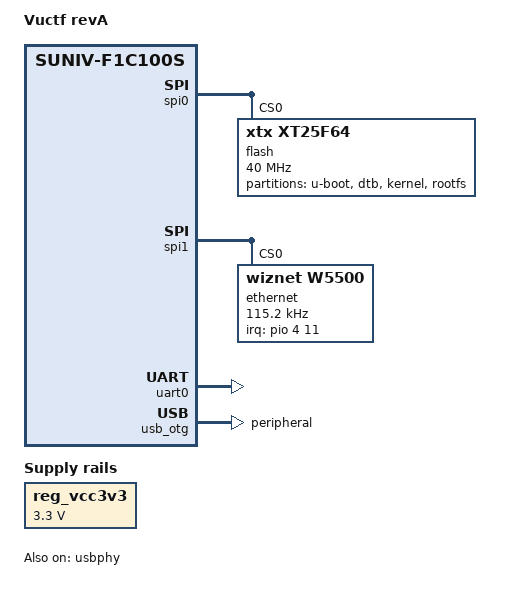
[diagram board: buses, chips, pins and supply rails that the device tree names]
// SPDX-License-Identifier: (GPL-2.0+ OR MIT)
/*
 * Copyright 2022 Arm Ltd,
 * based on work:
 *   Copyright 2022 Icenowy Zheng <uwu@icenowy.me>
 */

/dts-v1/;
#include "suniv-f1c100s.dtsi"

#include <dt-bindings/gpio/gpio.h>
#include <dt-bindings/interrupt-controller/irq.h>


/ {
	model = "Vuctf revA";
	compatible = "lctech,pi-f1c200s", "allwinner,suniv-f1c200s",
		     "allwinner,suniv-f1c100s";

	aliases {
		serial0 = &uart0;
	};

	chosen {
		stdout-path = "serial0:115200n8";
	};

	reg_vcc3v3: regulator-3v3 {
		compatible = "regulator-fixed";
		regulator-name = "vcc3v3";
		regulator-min-microvolt = <3300000>;
		regulator-max-microvolt = <3300000>;
	};
};

&otg_sram {
	status = "okay";
};

&spi0 {
	pinctrl-names = "default";
	pinctrl-0 = <&spi0_pc_pins>;
	status = "okay";

	flash@0 {
		#address-cells = <1>;
		#size-cells = <1>;
		compatible = "xtx,xt25f64", "jedec,spi-nor";
		reg = <0>;
		spi-max-frequency = <40000000>;

		partitions {
			compatible = "fixed-partitions";
			#address-cells = <1>;
			#size-cells = <1>;

			partition@0 {
				label = "u-boot";
				reg = <0x000000 0x100000>;
				read-only;
			};

			partition@1 {
				label = "dtb";
				reg = <0x100000 0x10000>;
				read-only;
			};

			partition@2 {
				label = "kernel";
				reg = <0x110000 0x4F0000>;
				read-only;
			};

			partition@3 {
				label = "rootfs";
				reg = <0x600000 0x1A00000>;
			};
		};
	};
};

&spi1 {
	pinctrl-names = "default";
	pinctrl-0 = <&spi1_pe_pins>;
	status = "okay";

	ethernet@0 {
		compatible = "wiznet,w5500";
		reg = <0>;
		pinctrl-names = "default";
		pinctrl-0 = <&w5500_pins>;
		interrupt-parent = <&pio>;
		interrupts = <4 11 IRQ_TYPE_EDGE_FALLING>;
		//spi-max-frequency = <30000000>;
		//spi-max-frequency = <3000000>;
		spi-max-frequency = <115200>;
	};
};

&uart0 {
        pinctrl-names = "default";
        pinctrl-0 = <&uart0_pe_pins>;
        status = "okay";
};

/*
 * This is a Type-C socket, but CC1/2 are not connected, and VBUS is connected
 * to Vin, which supplies the board. Host mode works (if the board is powered
 * otherwise), but peripheral is probably the intention.
 */
&usb_otg {
	dr_mode = "peripheral";
	status = "okay";
};

&usbphy {
	status = "okay";
};
